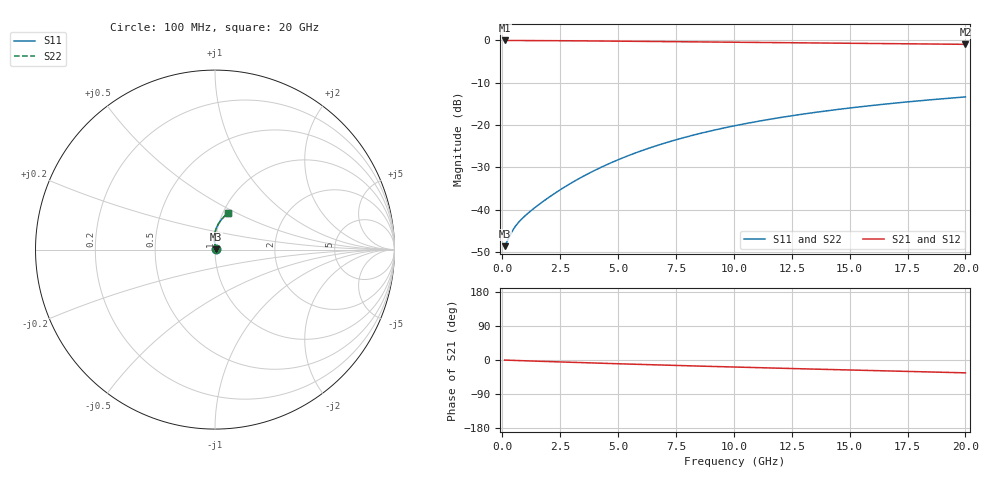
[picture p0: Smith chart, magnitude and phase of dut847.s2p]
! Touchstone file exported from HFSS 2024.1.0
!  File:  C:/UserFiles/LocalFiles/RDL_TSV_Batchsim/temp_RDL_bottom_847_1779863981.aedt
!  Generated:  02:42:05 PM May 27, 2026
!  Design:  RDL_bottom
!  Project:  temp_RDL_bottom_847_1779863981
!  Setup:  Setup1
!  Solution:  Sweep
! Variables:
!  dtsv = 10.80580581um
!  hbump = 3um
!  htsv = 71.6um
!  ldown = 549.79um
!  lrdl = 100um
!  p = 40
!  p1 = 41.1um
!  rhole = 1um
!  t = 450um
!  tdown = 2.13um
!  trdl = 3.915915916um
!  wdown = 29.03um
!  wrdl = 20um
# GHz S MA R 50.000000
! Terminal data exported
! Port[1] = RDL1_T1
! Port[2] = RDL1_T2
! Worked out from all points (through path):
!   200 points, 100 MHz to 20 GHz, reference 50 ohm
!   highest |S21| = -0.03 dB at 100 MHz (marker M1); lowest = -0.9 dB at 20 GHz (marker M2)
!   group delay of S21, straight-line fit = 4.63 ps
!   lowest |S11| = -48.6 dB at 100 MHz (marker M3), VSWR 1.01, Z = 50.4 + j0.0982 ohm
!   |S11| at or under -10 dB: start of sweep to end of sweep
!   |S22| runs from -48.6 to -13.4 dB; largest |S21 - S12| = 3e-15
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0.1  0.003698 15.3  0.9964 -0.2  0.9964 -0.2  0.003698 15.3
! Gamma 0 0 0 0
! Port Impedance 50 0 50 0
0.4  0.005397 40.0  0.9957 -0.9  0.9957 -0.9  0.005397 40.0
0.5  0.005988 43.9  0.9954 -1.1  0.9954 -1.1  0.005988 43.9
0.7  0.00706 49.6  0.9948 -1.5  0.9948 -1.5  0.00706 49.6
1  0.008527 56.8  0.994 -2.1  0.994 -2.1  0.008527 56.8
1.5  0.01104 66.8  0.9928 -3.1  0.9928 -3.1  0.01104 66.7
2.2  0.01514 77.2  0.9906 -4.5  0.9906 -4.5  0.01514 77.1
2.8  0.01927 83.4  0.9884 -5.7  0.9884 -5.7  0.01927 83.3
3.5  0.02479 88.3  0.9853 -7.1  0.9853 -7.1  0.02478 88.2
4.3  0.03192 91.7  0.9813 -8.6  0.9813 -8.6  0.0319 91.6
5.1  0.03982 93.5  0.977 -10.1  0.977 -10.1  0.0398 93.5
5.9  0.04836 94.2  0.9724 -11.6  0.9724 -11.6  0.04832 94.2
6.8  0.05854 94.1  0.9671 -13.2  0.9671 -13.2  0.0585 94.0
7.6  0.06798 93.4  0.9623 -14.5  0.9623 -14.5  0.06793 93.4
8.4  0.07767 92.5  0.9575 -15.9  0.9575 -15.9  0.07761 92.4
9.2  0.08751 91.2  0.9528 -17.2  0.9528 -17.2  0.08744 91.2
10.1  0.09869 89.7  0.9476 -18.7  0.9476 -18.7  0.09861 89.6
11.7  0.1186 86.6  0.9387 -21.3  0.9387 -21.3  0.1185 86.6
13.4  0.1394 83.3  0.9295 -23.9  0.9295 -23.9  0.1393 83.2
15  0.1586 80.1  0.9213 -26.4  0.9213 -26.4  0.1585 80.0
16.7  0.1783 76.7  0.9128 -29.0  0.9128 -29.0  0.1782 76.7
20  0.2144 70.5  0.897 -33.9  0.897 -33.9  0.2142 70.4
